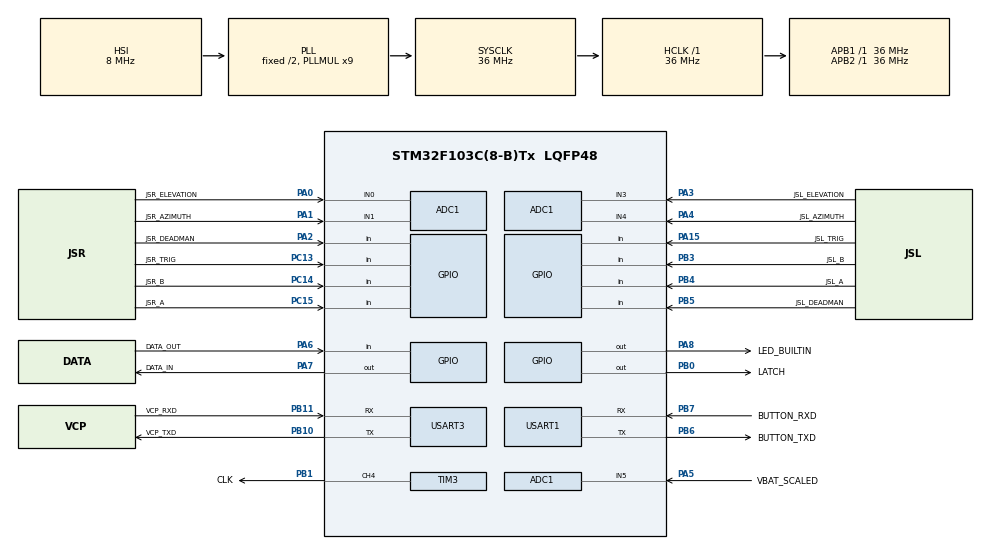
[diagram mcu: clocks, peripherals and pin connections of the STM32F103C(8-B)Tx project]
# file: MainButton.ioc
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ADC1.Channel-0\#ChannelRegularConversion=ADC_CHANNEL_0
ADC1.NbrOfConversionFlag=1
ADC1.Rank-0\#ChannelRegularConversion=1
ADC1.SamplingTime-0\#ChannelRegularConversion=ADC_SAMPLETIME_1CYCLE_5
ADC1.master=1
Mcu.Family=STM32F1
Mcu.Name=STM32F103C(8-B)Tx
Mcu.Package=LQFP48
NVIC.ADC1_2_IRQn=true\:7\:0\:true\:false\:true\:true\:true
NVIC.PriorityGroup=NVIC_PRIORITYGROUP_4
NVIC.TIM3_IRQn=true\:5\:0\:true\:false\:true\:true\:true
NVIC.USART1_IRQn=true\:6\:0\:true\:false\:false\:true\:true
NVIC.USART3_IRQn=true\:15\:0\:true\:false\:false\:true\:true
PA0-WKUP.GPIO_Label=JSR_ELEVATION
PA0-WKUP.Signal=ADCx_IN0
PA1.GPIO_Label=JSR_AZIMUTH
PA1.Signal=ADCx_IN1
PA13.Mode=Serial_Wire
PA13.Signal=SYS_JTMS-SWDIO
PA14.Mode=Serial_Wire
PA14.Signal=SYS_JTCK-SWCLK
PA15.GPIO_Label=JSL_TRIG
PA15.Signal=GPIO_Input
PA2.GPIO_Label=JSR_DEADMAN
PA2.Signal=GPIO_Input
PA3.GPIO_Label=JSL_ELEVATION
PA3.Signal=ADCx_IN3
PA4.GPIO_Label=JSL_AZIMUTH
PA4.Signal=ADCx_IN4
PA5.GPIO_Label=VBAT_SCALED
PA5.Signal=ADCx_IN5
PA6.GPIO_Label=DATA_OUT
PA6.GPIO_PuPd=GPIO_PULLUP
PA6.Signal=GPIO_Input
PA7.GPIO_Label=DATA_IN
PA7.GPIO_Speed=GPIO_SPEED_FREQ_HIGH
PA7.Signal=GPIO_Output
PA8.GPIO_Label=LED_BUILTIN
PA8.Signal=GPIO_Output
PB0.GPIO_Label=LATCH
PB0.Signal=GPIO_Output
PB1.GPIO_Label=CLK
PB1.Signal=S_TIM3_CH4
PB10.GPIO_Label=VCP_TXD
PB10.Mode=Asynchronous
PB10.Signal=USART3_TX
PB11.GPIO_Label=VCP_RXD
PB11.GPIO_PuPd=GPIO_PULLUP
PB11.Mode=Asynchronous
PB11.Signal=USART3_RX
PB3.GPIO_Label=JSL_B
PB3.Signal=GPIO_Input
PB4.GPIO_Label=JSL_A
PB4.Signal=GPIO_Input
PB5.GPIO_Label=JSL_DEADMAN
PB5.Signal=GPIO_Input
PB6.GPIO_Label=BUTTON_TXD
PB6.Mode=Asynchronous
PB6.Signal=USART1_TX
PB7.GPIO_Label=BUTTON_RXD
PB7.GPIO_PuPd=GPIO_PULLUP
PB7.Mode=Asynchronous
PB7.Signal=USART1_RX
PC13-TAMPER-RTC.GPIO_Label=JSR_TRIG
PC13-TAMPER-RTC.Signal=GPIO_Input
PC14-OSC32_IN.GPIO_Label=JSR_B
PC14-OSC32_IN.Signal=GPIO_Input
PC15-OSC32_OUT.GPIO_Label=JSR_A
PC15-OSC32_OUT.Signal=GPIO_Input
ProjectManager.HeapSize=0x200
ProjectManager.StackSize=0x400
ProjectManager.TargetToolchain=STM32CubeIDE
RCC.ADCPresc=RCC_ADCPCLK2_DIV4
RCC.AHBFreq_Value=36000000
RCC.APB1Freq_Value=36000000
RCC.APB1TimFreq_Value=36000000
RCC.APB2Freq_Value=36000000
RCC.APB2TimFreq_Value=36000000
RCC.HCLKFreq_Value=36000000
RCC.PLLMUL=RCC_PLL_MUL9
RCC.SYSCLKFreq_VALUE=36000000
RCC.SYSCLKSource=RCC_SYSCLKSOURCE_PLLCLK
RCC.USBFreq_Value=36000000
SH.ADCx_IN0.0=ADC1_IN0,IN0
SH.ADCx_IN1.0=ADC1_IN1,IN1
SH.ADCx_IN3.0=ADC1_IN3,IN3
SH.ADCx_IN4.0=ADC1_IN4,IN4
SH.ADCx_IN5.0=ADC1_IN5,IN5
SH.S_TIM3_CH4.0=TIM3_CH4,PWM Generation4 CH4
TIM3.Channel-PWM\ Generation4\ CH4=TIM_CHANNEL_4
TIM3.Period=999
TIM3.Prescaler=35
USART1.VirtualMode=VM_ASYNC
USART3.VirtualMode=VM_ASYNC
VP_TIM3_VS_ClockSourceINT.Mode=Internal
board=custom

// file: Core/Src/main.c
/* USER CODE BEGIN Header */
/**
 ******************************************************************************
 * @file           : main.c
 * @brief          : Main program body
 ******************************************************************************
 * @attention
 *
 * <h2><center>&copy; Copyright (c) 2021 STMicroelectronics.
 * All rights reserved.</center></h2>
 *
 * This software component is licensed by ST under BSD 3-Clause license,
 * the "License"; You may not use this file except in compliance with the
 * License. You may obtain a copy of the License at:
 *                        opensource.org/licenses/BSD-3-Clause
 *
 ******************************************************************************
 */
/* USER CODE END Header */
#include "main.h"

/* USER CODE BEGIN Includes */
#include <stdio.h>

#include "stm_hal_serial.h"
/* USER CODE END Includes */

ADC_HandleTypeDef hadc1;

TIM_HandleTypeDef htim3;

UART_HandleTypeDef huart1;
UART_HandleTypeDef huart3;

/* USER CODE BEGIN PV */
uint8_t rxDBuffer[RING_BUFFER_RX_SIZE];
uint8_t txDBuffer[RING_BUFFER_TX_SIZE];
TSerial debug;

uint8_t rxPBuffer[RING_BUFFER_RX_SIZE];
uint8_t txPBuffer[RING_BUFFER_TX_SIZE];
TSerial panel;

/* USER CODE END PV */

void SystemClock_Config(void);
static void MX_GPIO_Init(void);
static void MX_USART1_UART_Init(void);
static void MX_ADC1_Init(void);
static void MX_USART3_UART_Init(void);
static void MX_TIM3_Init(void);

int main(void)
{
	/* USER CODE BEGIN 1 */
	char buf[RING_BUFFER_TX_SIZE];
	uint16_t bufLen;

	/* USER CODE END 1 */

	/* MCU Configuration--------------------------------------------------------*/

	/* Reset of all peripherals, Initializes the Flash interface and the Systick. */
	HAL_Init();

	/* Configure the system clock */
	SystemClock_Config();

	/* Initialize all configured peripherals */
	MX_GPIO_Init();
	MX_USART1_UART_Init();
	MX_ADC1_Init();
	MX_USART3_UART_Init();
	MX_TIM3_Init();
	/* USER CODE BEGIN 2 */
	serial_init(&debug, (char*) &rxDBuffer, sizeof(rxDBuffer), (char*) &txDBuffer,
			sizeof(txDBuffer), &huart3);
	serial_init(&panel, (char*) &rxPBuffer, sizeof(rxPBuffer), (char*) &txPBuffer,
			sizeof(txPBuffer), &huart1);

	bufLen = sprintf(buf, "mainButton firmware!\r\n");
	serial_write_str(&debug, buf, bufLen);

	/* USER CODE END 2 */

	/* Infinite loop */
	/* USER CODE BEGIN WHILE */
	uint32_t ledTimer = 0;
	while (1) {
		/* USER CODE END WHILE */

		/* USER CODE BEGIN 3 */
		/* TODO BEGIN LOOP*/
		if (HAL_GetTick() >= ledTimer) {
			ledTimer = HAL_GetTick() + 100;
			HAL_GPIO_TogglePin(LED_BUILTIN_GPIO_Port, LED_BUILTIN_Pin);
		}

		if (serial_available(&debug) > 0)
			serial_write(&panel, serial_read(&debug));

		if (serial_available(&panel) > 0)
			serial_write(&debug, serial_read(&panel));

	}
	/* USER CODE END 3 */
}

void SystemClock_Config(void)
{
	RCC_OscInitTypeDef RCC_OscInitStruct = { 0 };
	RCC_ClkInitTypeDef RCC_ClkInitStruct = { 0 };
	RCC_PeriphCLKInitTypeDef PeriphClkInit = { 0 };

	/** Initializes the RCC Oscillators according to the specified parameters
	 * in the RCC_OscInitTypeDef structure.
	 */
	RCC_OscInitStruct.OscillatorType = RCC_OSCILLATORTYPE_HSI;
	RCC_OscInitStruct.HSIState = RCC_HSI_ON;
	RCC_OscInitStruct.HSICalibrationValue = RCC_HSICALIBRATION_DEFAULT;
	RCC_OscInitStruct.PLL.PLLState = RCC_PLL_ON;
	RCC_OscInitStruct.PLL.PLLSource = RCC_PLLSOURCE_HSI_DIV2;
	RCC_OscInitStruct.PLL.PLLMUL = RCC_PLL_MUL9;
	if (HAL_RCC_OscConfig(&RCC_OscInitStruct) != HAL_OK) {
		Error_Handler();
	}
	/** Initializes the CPU, AHB and APB buses clocks
	 */
	RCC_ClkInitStruct.ClockType = RCC_CLOCKTYPE_HCLK | RCC_CLOCKTYPE_SYSCLK | RCC_CLOCKTYPE_PCLK1
			| RCC_CLOCKTYPE_PCLK2;
	RCC_ClkInitStruct.SYSCLKSource = RCC_SYSCLKSOURCE_PLLCLK;
	RCC_ClkInitStruct.AHBCLKDivider = RCC_SYSCLK_DIV1;
	RCC_ClkInitStruct.APB1CLKDivider = RCC_HCLK_DIV1;
	RCC_ClkInitStruct.APB2CLKDivider = RCC_HCLK_DIV1;

	if (HAL_RCC_ClockConfig(&RCC_ClkInitStruct, FLASH_LATENCY_1) != HAL_OK) {
		Error_Handler();
	}
	PeriphClkInit.PeriphClockSelection = RCC_PERIPHCLK_ADC;
	PeriphClkInit.AdcClockSelection = RCC_ADCPCLK2_DIV4;
	if (HAL_RCCEx_PeriphCLKConfig(&PeriphClkInit) != HAL_OK) {
		Error_Handler();
	}
}

static void MX_ADC1_Init(void)
{

	ADC_ChannelConfTypeDef sConfig = { 0 };

	/** Common config
	 */
	hadc1.Instance = ADC1;
	hadc1.Init.ScanConvMode = ADC_SCAN_DISABLE;
	hadc1.Init.ContinuousConvMode = DISABLE;
	hadc1.Init.DiscontinuousConvMode = DISABLE;
	hadc1.Init.ExternalTrigConv = ADC_SOFTWARE_START;
	hadc1.Init.DataAlign = ADC_DATAALIGN_RIGHT;
	hadc1.Init.NbrOfConversion = 1;
	if (HAL_ADC_Init(&hadc1) != HAL_OK) {
		Error_Handler();
	}
	/** Configure Regular Channel
	 */
	sConfig.Channel = ADC_CHANNEL_0;
	sConfig.Rank = ADC_REGULAR_RANK_1;
	sConfig.SamplingTime = ADC_SAMPLETIME_1CYCLE_5;
	if (HAL_ADC_ConfigChannel(&hadc1, &sConfig) != HAL_OK) {
		Error_Handler();
	}

}

static void MX_TIM3_Init(void)
{

	TIM_ClockConfigTypeDef sClockSourceConfig = { 0 };
	TIM_MasterConfigTypeDef sMasterConfig = { 0 };
	TIM_OC_InitTypeDef sConfigOC = { 0 };

	htim3.Instance = TIM3;
	htim3.Init.Prescaler = 35;
	htim3.Init.CounterMode = TIM_COUNTERMODE_UP;
	htim3.Init.Period = 999;
	htim3.Init.ClockDivision = TIM_CLOCKDIVISION_DIV1;
	htim3.Init.AutoReloadPreload = TIM_AUTORELOAD_PRELOAD_DISABLE;
	if (HAL_TIM_Base_Init(&htim3) != HAL_OK) {
		Error_Handler();
	}
	sClockSourceConfig.ClockSource = TIM_CLOCKSOURCE_INTERNAL;
	if (HAL_TIM_ConfigClockSource(&htim3, &sClockSourceConfig) != HAL_OK) {
		Error_Handler();
	}
	if (HAL_TIM_PWM_Init(&htim3) != HAL_OK) {
		Error_Handler();
	}
	sMasterConfig.MasterOutputTrigger = TIM_TRGO_RESET;
	sMasterConfig.MasterSlaveMode = TIM_MASTERSLAVEMODE_DISABLE;
	if (HAL_TIMEx_MasterConfigSynchronization(&htim3, &sMasterConfig) != HAL_OK) {
		Error_Handler();
	}
	sConfigOC.OCMode = TIM_OCMODE_PWM1;
	sConfigOC.Pulse = 0;
	sConfigOC.OCPolarity = TIM_OCPOLARITY_HIGH;
	sConfigOC.OCFastMode = TIM_OCFAST_DISABLE;
	if (HAL_TIM_PWM_ConfigChannel(&htim3, &sConfigOC, TIM_CHANNEL_4) != HAL_OK) {
		Error_Handler();
	}
	HAL_TIM_MspPostInit(&htim3);

}

static void MX_USART1_UART_Init(void)
{

	huart1.Instance = USART1;
	huart1.Init.BaudRate = 115200;
	huart1.Init.WordLength = UART_WORDLENGTH_8B;
	huart1.Init.StopBits = UART_STOPBITS_1;
	huart1.Init.Parity = UART_PARITY_NONE;
	huart1.Init.Mode = UART_MODE_TX_RX;
	huart1.Init.HwFlowCtl = UART_HWCONTROL_NONE;
	huart1.Init.OverSampling = UART_OVERSAMPLING_16;
	if (HAL_UART_Init(&huart1) != HAL_OK) {
		Error_Handler();
	}

}

static void MX_USART3_UART_Init(void)
{

	huart3.Instance = USART3;
	huart3.Init.BaudRate = 115200;
	huart3.Init.WordLength = UART_WORDLENGTH_8B;
	huart3.Init.StopBits = UART_STOPBITS_1;
	huart3.Init.Parity = UART_PARITY_NONE;
	huart3.Init.Mode = UART_MODE_TX_RX;
	huart3.Init.HwFlowCtl = UART_HWCONTROL_NONE;
	huart3.Init.OverSampling = UART_OVERSAMPLING_16;
	if (HAL_UART_Init(&huart3) != HAL_OK) {
		Error_Handler();
	}

}

static void MX_GPIO_Init(void)
{
	GPIO_InitTypeDef GPIO_InitStruct = { 0 };

	/* GPIO Ports Clock Enable */
	__HAL_RCC_GPIOC_CLK_ENABLE();
	__HAL_RCC_GPIOD_CLK_ENABLE();
	__HAL_RCC_GPIOA_CLK_ENABLE();
	__HAL_RCC_GPIOB_CLK_ENABLE();

	/*Configure GPIO pin Output Level */
	HAL_GPIO_WritePin(GPIOA, DATA_IN_Pin | LED_BUILTIN_Pin, GPIO_PIN_RESET);

	/*Configure GPIO pin Output Level */
	HAL_GPIO_WritePin(LATCH_GPIO_Port, LATCH_Pin, GPIO_PIN_RESET);

	/*Configure GPIO pins : JSR_TRIG_Pin JSR_B_Pin JSR_A_Pin */
	GPIO_InitStruct.Pin = JSR_TRIG_Pin | JSR_B_Pin | JSR_A_Pin;
	GPIO_InitStruct.Mode = GPIO_MODE_INPUT;
	GPIO_InitStruct.Pull = GPIO_NOPULL;
	HAL_GPIO_Init(GPIOC, &GPIO_InitStruct);

	/*Configure GPIO pins : PD0 PD1 */
	GPIO_InitStruct.Pin = GPIO_PIN_0 | GPIO_PIN_1;
	GPIO_InitStruct.Mode = GPIO_MODE_ANALOG;
	HAL_GPIO_Init(GPIOD, &GPIO_InitStruct);

	/*Configure GPIO pins : JSR_DEADMAN_Pin JSL_TRIG_Pin */
	GPIO_InitStruct.Pin = JSR_DEADMAN_Pin | JSL_TRIG_Pin;
	GPIO_InitStruct.Mode = GPIO_MODE_INPUT;
	GPIO_InitStruct.Pull = GPIO_NOPULL;
	HAL_GPIO_Init(GPIOA, &GPIO_InitStruct);

	/*Configure GPIO pin : DATA_OUT_Pin */
	GPIO_InitStruct.Pin = DATA_OUT_Pin;
	GPIO_InitStruct.Mode = GPIO_MODE_INPUT;
	GPIO_InitStruct.Pull = GPIO_PULLUP;
	HAL_GPIO_Init(DATA_OUT_GPIO_Port, &GPIO_InitStruct);

	/*Configure GPIO pin : DATA_IN_Pin */
	GPIO_InitStruct.Pin = DATA_IN_Pin;
	GPIO_InitStruct.Mode = GPIO_MODE_OUTPUT_PP;
	GPIO_InitStruct.Pull = GPIO_NOPULL;
	GPIO_InitStruct.Speed = GPIO_SPEED_FREQ_HIGH;
	HAL_GPIO_Init(DATA_IN_GPIO_Port, &GPIO_InitStruct);

	/*Configure GPIO pin : LATCH_Pin */
	GPIO_InitStruct.Pin = LATCH_Pin;
	GPIO_InitStruct.Mode = GPIO_MODE_OUTPUT_PP;
	GPIO_InitStruct.Pull = GPIO_NOPULL;
	GPIO_InitStruct.Speed = GPIO_SPEED_FREQ_LOW;
	HAL_GPIO_Init(LATCH_GPIO_Port, &GPIO_InitStruct);

	/*Configure GPIO pins : PB2 PB12 PB13 PB14
	 PB15 PB8 PB9 */
	GPIO_InitStruct.Pin = GPIO_PIN_2 | GPIO_PIN_12 | GPIO_PIN_13 | GPIO_PIN_14 | GPIO_PIN_15
			| GPIO_PIN_8 | GPIO_PIN_9;
	GPIO_InitStruct.Mode = GPIO_MODE_ANALOG;
	HAL_GPIO_Init(GPIOB, &GPIO_InitStruct);

	/*Configure GPIO pin : LED_BUILTIN_Pin */
	GPIO_InitStruct.Pin = LED_BUILTIN_Pin;
	GPIO_InitStruct.Mode = GPIO_MODE_OUTPUT_PP;
	GPIO_InitStruct.Pull = GPIO_NOPULL;
	GPIO_InitStruct.Speed = GPIO_SPEED_FREQ_LOW;
	HAL_GPIO_Init(LED_BUILTIN_GPIO_Port, &GPIO_InitStruct);

	/*Configure GPIO pins : PA9 PA10 PA11 PA12 */
	GPIO_InitStruct.Pin = GPIO_PIN_9 | GPIO_PIN_10 | GPIO_PIN_11 | GPIO_PIN_12;
	GPIO_InitStruct.Mode = GPIO_MODE_ANALOG;
	HAL_GPIO_Init(GPIOA, &GPIO_InitStruct);

	/*Configure GPIO pins : JSL_B_Pin JSL_A_Pin JSL_DEADMAN_Pin */
	GPIO_InitStruct.Pin = JSL_B_Pin | JSL_A_Pin | JSL_DEADMAN_Pin;
	GPIO_InitStruct.Mode = GPIO_MODE_INPUT;
	GPIO_InitStruct.Pull = GPIO_NOPULL;
	HAL_GPIO_Init(GPIOB, &GPIO_InitStruct);

	/*Configure peripheral I/O remapping */
	__HAL_AFIO_REMAP_PD01_ENABLE();

}

/* USER CODE BEGIN 4 */
/* TODO user functions*/
void USART3_IRQHandler(void)
{
	USARTx_IRQHandler(&debug);
}

void USART1_IRQHandler(void)
{
	USARTx_IRQHandler(&panel);
}

/* USER CODE END 4 */

void Error_Handler(void)
{
	__disable_irq();
	while (1) {
	}
}

/************************ (C) COPYRIGHT STMicroelectronics *****END OF FILE****/
